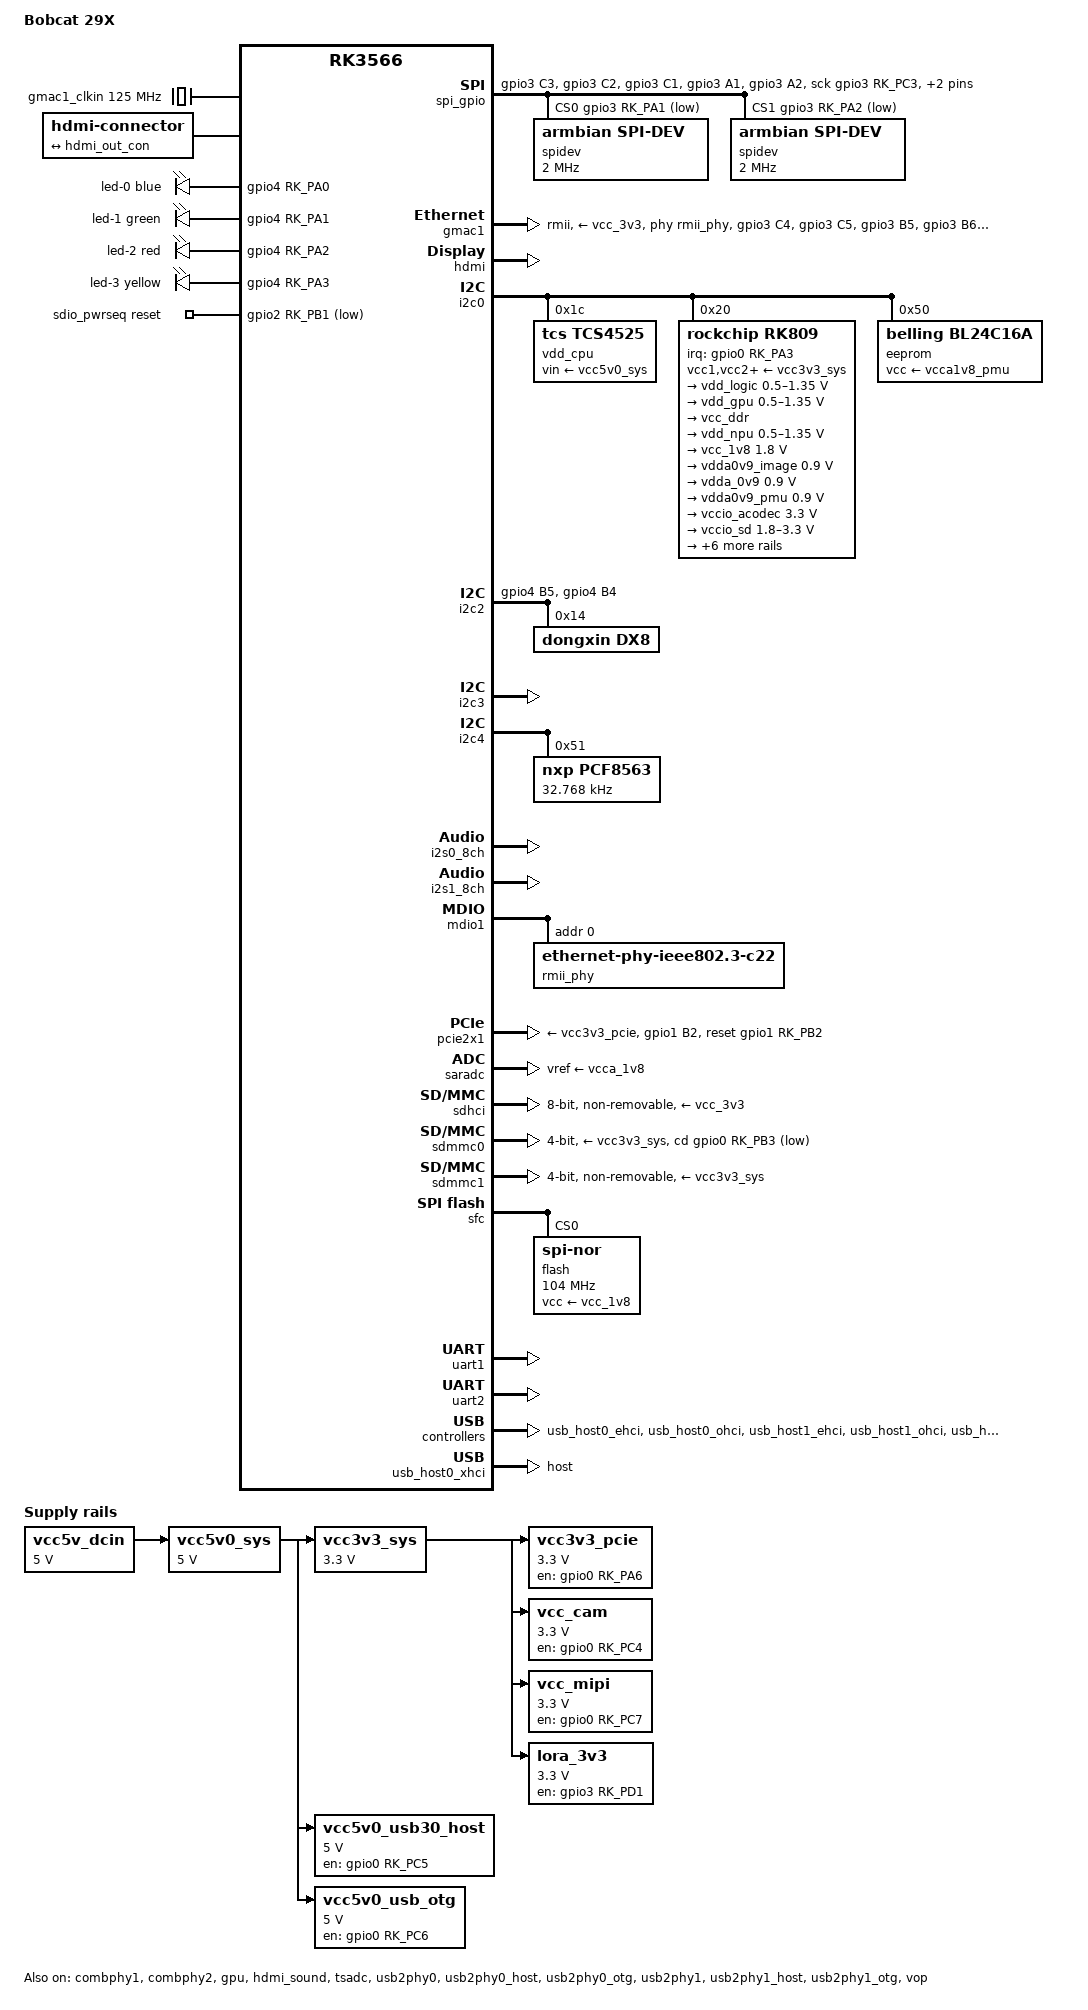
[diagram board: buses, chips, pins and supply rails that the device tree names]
// SPDX-License-Identifier: (GPL-2.0+ OR MIT)

/dts-v1/;
#include <dt-bindings/gpio/gpio.h>
#include <dt-bindings/leds/common.h>
#include <dt-bindings/pinctrl/rockchip.h>
#include <dt-bindings/soc/rockchip,vop2.h>
#include "rk3566.dtsi"

/ {
	model = "Bobcat 29X";
	compatible = "bobcat,bobcat-29x", "rockchip,rk3566";

	aliases {
		ethernet0 = &gmac1;
		mmc0 = &sdhci;
		mmc1 = &sdmmc0;
		mmc2 = &sdmmc1;
	};

	chosen: chosen {
		stdout-path = "serial2:1500000n8";
	};

	gmac1_clkin: external-gmac1-clock {
		compatible = "fixed-clock";
		clock-frequency = <125000000>;
		clock-output-names = "gmac1_clkin";
		#clock-cells = <0>;
	};

	hdmi-con {
		compatible = "hdmi-connector";
		type = "a";

		port {
			hdmi_con_in: endpoint {
				remote-endpoint = <&hdmi_out_con>;
			};
		};
	};

	leds {
		compatible = "gpio-leds";

		led-0 {
			gpios = <&gpio4 RK_PA0 GPIO_ACTIVE_HIGH>;
			function = LED_FUNCTION_STATUS;
			color = <LED_COLOR_ID_BLUE>;
			linux,default-trigger = "heartbeat";
		};

		led-1 {
			gpios = <&gpio4 RK_PA1 GPIO_ACTIVE_HIGH>;
			function = LED_FUNCTION_STATUS;
			color = <LED_COLOR_ID_GREEN>;
		};

		led-2 {
			gpios = <&gpio4 RK_PA2 GPIO_ACTIVE_HIGH>;
			function = LED_FUNCTION_STATUS;
			color = <LED_COLOR_ID_RED>;
		};

		led-3 {
			gpios = <&gpio4 RK_PA3 GPIO_ACTIVE_HIGH>;
			function = LED_FUNCTION_STATUS;
			color = <LED_COLOR_ID_YELLOW>;
		};
	};

	sdio_pwrseq: sdio-pwrseq {
		status = "okay";
		compatible = "mmc-pwrseq-simple";
		clocks = <&rk809 1>;
		clock-names = "ext_clock";
		pinctrl-names = "default";
		pinctrl-0 = <&wifi_enable_h>;
		reset-gpios = <&gpio2 RK_PB1 GPIO_ACTIVE_LOW>;
		post-power-on-delay-ms = <100>;
	};

	vcc5v_dcin: vcc5v-dcin-regulator {
		compatible = "regulator-fixed";
		regulator-name = "vcc5v_dcin";
		regulator-always-on;
		regulator-boot-on;
		regulator-min-microvolt = <5000000>;
		regulator-max-microvolt = <5000000>;
	};

	vcc3v3_pcie: vcc3v3-pcie-regulator {
		compatible = "regulator-fixed";
		enable-active-high;
		gpios = <&gpio0 RK_PA6 GPIO_ACTIVE_HIGH>;
		pinctrl-names = "default";
		pinctrl-0 = <&pcie_pwr_en>;
		regulator-name = "vcc3v3_pcie";
		regulator-min-microvolt = <3300000>;
		regulator-max-microvolt = <3300000>;
		vin-supply = <&vcc3v3_sys>;
	};

	vcc3v3_sys: vcc3v3-sys-regulator {
		compatible = "regulator-fixed";
		regulator-name = "vcc3v3_sys";
		regulator-always-on;
		regulator-boot-on;
		regulator-min-microvolt = <3300000>;
		regulator-max-microvolt = <3300000>;
		vin-supply = <&vcc5v0_sys>;
	};

	vcc5v0_sys: vcc5v0-sys-regulator {
		compatible = "regulator-fixed";
		regulator-name = "vcc5v0_sys";
		regulator-always-on;
		regulator-boot-on;
		regulator-min-microvolt = <5000000>;
		regulator-max-microvolt = <5000000>;
		vin-supply = <&vcc5v_dcin>;
	};

	vcc5v0_usb30_host: vcc5v0-usb30-host-regulator {
		compatible = "regulator-fixed";
		enable-active-high;
		gpio = <&gpio0 RK_PC5 GPIO_ACTIVE_HIGH>;
		pinctrl-names = "default";
		pinctrl-0 = <&vcc5v0_usb30_host_en>;
		regulator-name = "vcc5v0_usb30_host";
		regulator-min-microvolt = <5000000>;
		regulator-max-microvolt = <5000000>;
		vin-supply = <&vcc5v0_sys>;
	};

	vcc5v0_usb_otg: vcc5v0-usb-otg-regulator {
		compatible = "regulator-fixed";
		enable-active-high;
		gpio = <&gpio0 RK_PC6 GPIO_ACTIVE_HIGH>;
		pinctrl-names = "default";
		pinctrl-0 = <&vcc5v0_usb_otg_en>;
		regulator-name = "vcc5v0_usb_otg";
		regulator-min-microvolt = <5000000>;
		regulator-max-microvolt = <5000000>;
		vin-supply = <&vcc5v0_sys>;
	};

	vcc_cam: vcc-cam-regulator {
		compatible = "regulator-fixed";
		enable-active-high;
		gpio = <&gpio0 RK_PC4 GPIO_ACTIVE_HIGH>;
		pinctrl-names = "default";
		pinctrl-0 = <&vcc_cam_en>;
		regulator-name = "vcc_cam";
		regulator-min-microvolt = <3300000>;
		regulator-max-microvolt = <3300000>;
		vin-supply = <&vcc3v3_sys>;

		regulator-state-mem {
			regulator-off-in-suspend;
		};
	};

	vcc_mipi: vcc-mipi-regulator {
		compatible = "regulator-fixed";
		enable-active-high;
		gpio = <&gpio0 RK_PC7 GPIO_ACTIVE_HIGH>;
		pinctrl-names = "default";
		pinctrl-0 = <&vcc_mipi_en>;
		regulator-name = "vcc_mipi";
		regulator-min-microvolt = <3300000>;
		regulator-max-microvolt = <3300000>;
		vin-supply = <&vcc3v3_sys>;

		regulator-state-mem {
			regulator-off-in-suspend;
		};
	};

	lora_3v3: lora-3v3-regulator {
		compatible = "regulator-fixed";
		regulator-name = "lora_3v3";
		enable-active-high;
		regulator-always-on;
		regulator-boot-on;
		gpio = <&gpio3 RK_PD1 GPIO_ACTIVE_HIGH>;
		pinctrl-names = "default";
		pinctrl-0 = <&lora_en>;
		regulator-min-microvolt = <3300000>;
		regulator-max-microvolt = <3300000>;
		vin-supply = <&vcc3v3_sys>;
	};

	spi_gpio: spi-gpio {
		compatible = "spi-gpio";
		#address-cells = <1>;
		#size-cells = <0>;
		pinctrl-names = "default";
		pinctrl-0 = <&gpio_spi>;
		sck-gpios = <&gpio3 RK_PC3 GPIO_ACTIVE_HIGH>;
		miso-gpios = <&gpio3 RK_PC2 GPIO_ACTIVE_HIGH>;
		mosi-gpios = <&gpio3 RK_PC1 GPIO_ACTIVE_HIGH>;
		cs-gpios = <&gpio3 RK_PA1 GPIO_ACTIVE_LOW>,
			   <&gpio3 RK_PA2 GPIO_ACTIVE_LOW>;
		num-chipselects = <2>;
		status = "okay";

		spidev@0 {
			compatible = "armbian,spi-dev";
			reg = <0>;
			spi-max-frequency = <2000000>;
		};

		spidev@1 {
			compatible = "armbian,spi-dev";
			reg = <1>;
			spi-max-frequency = <2000000>;
		};
	};
};

&combphy1 {
	status = "okay";
};

&combphy2 {
	status = "okay";
};

&cpu0 {
	cpu-supply = <&vdd_cpu>;
};

&cpu1 {
	cpu-supply = <&vdd_cpu>;
};

&cpu2 {
	cpu-supply = <&vdd_cpu>;
};

&cpu3 {
	cpu-supply = <&vdd_cpu>;
};

&gmac1 {
	assigned-clocks = <&cru SCLK_GMAC1_RX_TX>, <&cru SCLK_GMAC1>;
	assigned-clock-parents = <&cru SCLK_GMAC1_RMII_SPEED>;
	assigned-clock-rates = <0>, <50000000>;
	clock_in_out = "output";
	phy-handle = <&rmii_phy>;
	phy-mode = "rmii";
	phy-supply = <&vcc_3v3>;
	pinctrl-names = "default";
	pinctrl-0 = <&gmac1m0_miim
		     &gmac1m0_tx_bus2
		     &gmac1m0_rx_bus2
		     &gmac1m0_rx_er
		     &gmac1m0_clkinout>;
	snps,reset-gpio = <&gpio4 RK_PC2 GPIO_ACTIVE_LOW>;
	snps,reset-active-low;
	snps,reset-delays-us = <0 20000 100000>;
	tx_delay = <0x46>;
	rx_delay = <0x29>;
	status = "okay";
};

&gpu {
	mali-supply = <&vdd_gpu>;
	status = "okay";
};

&hdmi {
	avdd-0v9-supply = <&vdda0v9_image>;
	avdd-1v8-supply = <&vcca1v8_image>;
	status = "okay";
};

&hdmi_in {
	hdmi_in_vp0: endpoint {
		remote-endpoint = <&vp0_out_hdmi>;
	};
};

&hdmi_out {
	hdmi_out_con: endpoint {
		remote-endpoint = <&hdmi_con_in>;
	};
};

&hdmi_sound {
	status = "okay";
};

&i2c0 {
	status = "okay";

	vdd_cpu: regulator@1c {
		compatible = "tcs,tcs4525";
		reg = <0x1c>;
		fcs,suspend-voltage-selector = <1>;
		regulator-name = "vdd_cpu";
		regulator-always-on;
		regulator-boot-on;
		regulator-min-microvolt = <800000>;
		regulator-max-microvolt = <1150000>;
		regulator-ramp-delay = <2300>;
		vin-supply = <&vcc5v0_sys>;

		regulator-state-mem {
			regulator-off-in-suspend;
		};
	};

	rk809: pmic@20 {
		compatible = "rockchip,rk809";
		reg = <0x20>;
		interrupt-parent = <&gpio0>;
		interrupts = <RK_PA3 IRQ_TYPE_LEVEL_LOW>;
		#clock-cells = <1>;
		clock-output-names = "rk808-clkout1", "rk808-clkout2";
		pinctrl-names = "default";
		pinctrl-0 = <&pmic_int_l>, <&i2s1m0_mclk>;
		rockchip,system-power-controller;
		wakeup-source;
		vcc1-supply = <&vcc3v3_sys>;
		vcc2-supply = <&vcc3v3_sys>;
		vcc3-supply = <&vcc3v3_sys>;
		vcc4-supply = <&vcc3v3_sys>;
		vcc5-supply = <&vcc3v3_sys>;
		vcc6-supply = <&vcc3v3_sys>;
		vcc7-supply = <&vcc3v3_sys>;
		vcc8-supply = <&vcc3v3_sys>;
		vcc9-supply = <&vcc3v3_sys>;

		regulators {
			vdd_logic: DCDC_REG1 {
				regulator-name = "vdd_logic";
				regulator-always-on;
				regulator-boot-on;
				regulator-initial-mode = <0x2>;
				regulator-min-microvolt = <500000>;
				regulator-max-microvolt = <1350000>;
				regulator-ramp-delay = <6001>;

				regulator-state-mem {
					regulator-off-in-suspend;
					regulator-suspend-microvolt = <900000>;
				};
			};

			vdd_gpu: DCDC_REG2 {
				regulator-name = "vdd_gpu";
				regulator-always-on;
				regulator-boot-on;
				regulator-initial-mode = <0x2>;
				regulator-min-microvolt = <500000>;
				regulator-max-microvolt = <1350000>;
				regulator-ramp-delay = <6001>;

				regulator-state-mem {
					regulator-off-in-suspend;
					regulator-suspend-microvolt = <900000>;
				};
			};

			vcc_ddr: DCDC_REG3 {
				regulator-name = "vcc_ddr";
				regulator-always-on;
				regulator-boot-on;
				regulator-initial-mode = <0x2>;

				regulator-state-mem {
					regulator-on-in-suspend;
				};
			};

			vdd_npu: DCDC_REG4 {
				regulator-name = "vdd_npu";
				regulator-initial-mode = <0x2>;
				regulator-min-microvolt = <500000>;
				regulator-max-microvolt = <1350000>;
				regulator-ramp-delay = <6001>;

				regulator-state-mem {
					regulator-off-in-suspend;
				};
			};

			vcc_1v8: DCDC_REG5 {
				regulator-name = "vcc_1v8";
				regulator-always-on;
				regulator-boot-on;
				regulator-min-microvolt = <1800000>;
				regulator-max-microvolt = <1800000>;

				regulator-state-mem {
					regulator-off-in-suspend;
				};
			};

			vdda0v9_image: LDO_REG1 {
				regulator-name = "vdda0v9_image";
				regulator-min-microvolt = <900000>;
				regulator-max-microvolt = <900000>;

				regulator-state-mem {
					regulator-off-in-suspend;
				};
			};

			vdda_0v9: LDO_REG2 {
				regulator-name = "vdda_0v9";
				regulator-always-on;
				regulator-boot-on;
				regulator-min-microvolt = <900000>;
				regulator-max-microvolt = <900000>;

				regulator-state-mem {
					regulator-off-in-suspend;
				};
			};

			vdda0v9_pmu: LDO_REG3 {
				regulator-name = "vdda0v9_pmu";
				regulator-always-on;
				regulator-boot-on;
				regulator-min-microvolt = <900000>;
				regulator-max-microvolt = <900000>;

				regulator-state-mem {
					regulator-on-in-suspend;
					regulator-suspend-microvolt = <900000>;
				};
			};

			vccio_acodec: LDO_REG4 {
				regulator-name = "vccio_acodec";
				regulator-always-on;
				regulator-boot-on;
				regulator-min-microvolt = <3300000>;
				regulator-max-microvolt = <3300000>;

				regulator-state-mem {
					regulator-off-in-suspend;
				};
			};

			vccio_sd: LDO_REG5 {
				regulator-name = "vccio_sd";
				regulator-min-microvolt = <1800000>;
				regulator-max-microvolt = <3300000>;

				regulator-state-mem {
					regulator-off-in-suspend;
				};
			};

			vcc3v3_pmu: LDO_REG6 {
				regulator-name = "vcc3v3_pmu";
				regulator-always-on;
				regulator-boot-on;
				regulator-min-microvolt = <3300000>;
				regulator-max-microvolt = <3300000>;

				regulator-state-mem {
					regulator-on-in-suspend;
					regulator-suspend-microvolt = <3300000>;
				};
			};

			vcca_1v8: LDO_REG7 {
				regulator-name = "vcca_1v8";
				regulator-always-on;
				regulator-boot-on;
				regulator-min-microvolt = <1800000>;
				regulator-max-microvolt = <1800000>;

				regulator-state-mem {
					regulator-off-in-suspend;
				};
			};

			vcca1v8_pmu: LDO_REG8 {
				regulator-name = "vcca1v8_pmu";
				regulator-always-on;
				regulator-boot-on;
				regulator-min-microvolt = <1800000>;
				regulator-max-microvolt = <1800000>;

				regulator-state-mem {
					regulator-on-in-suspend;
					regulator-suspend-microvolt = <1800000>;
				};
			};

			vcca1v8_image: LDO_REG9 {
				regulator-name = "vcca1v8_image";
				regulator-min-microvolt = <1800000>;
				regulator-max-microvolt = <1800000>;

				regulator-state-mem {
					regulator-off-in-suspend;
				};
			};

			vcc_3v3: SWITCH_REG1 {
				regulator-name = "vcc_3v3";
				regulator-always-on;
				regulator-boot-on;

				regulator-state-mem {
					regulator-off-in-suspend;
				};
			};

			vcc3v3_sd: SWITCH_REG2 {
				regulator-name = "vcc3v3_sd";

				regulator-state-mem {
					regulator-off-in-suspend;
				};
			};
		};
	};

	eeprom: eeprom@50 {
		compatible = "belling,bl24c16a", "atmel,24c16";
		reg = <0x50>;
		pagesize = <16>;
		vcc-supply = <&vcca1v8_pmu>;
	};
};

&i2c2 {
	pinctrl-0 = <&i2c2m1_xfer>;
	status = "okay";

	dx8: crypto@14 {
		compatible = "dongxin,dx8";
		reg = <0x14>;
	};
};

&i2c3 {
	status = "okay";
};

&i2c4 {
	status = "okay";

	pcf8563: rtc@51 {
		compatible = "nxp,pcf8563";
		reg = <0x51>;
		#clock-cells = <0>;
		clock-frequency = <32768>;
		clock-output-names = "xin32k-rtc";
	};
};

&i2s0_8ch {
	status = "okay";
};

&i2s1_8ch {
	pinctrl-names = "default";
	pinctrl-0 = <&i2s1m0_sclktx &i2s1m0_lrcktx &i2s1m0_sdi0 &i2s1m0_sdo0>;
	rockchip,trcm-sync-tx-only;
	status = "okay";
};

&mdio1 {
	rmii_phy: ethernet-phy@0 {
		compatible = "ethernet-phy-ieee802.3-c22";
		reg = <0x0>;
	};
};

&pcie2x1 {
	pinctrl-names = "default";
	pinctrl-0 = <&pcie_reset_h>;
	reset-gpios = <&gpio1 RK_PB2 GPIO_ACTIVE_HIGH>;
	vpcie3v3-supply = <&vcc3v3_pcie>;
	status = "okay";
};

&pinctrl {
	i2c2 {
		i2c2m1_xfer: i2c2m1-xfer {
			rockchip,pins =
				/* i2c2_sdam1 */
				<4 RK_PB5 1 &pcfg_pull_up_smt>,
				/* i2c2_sclm1 */
				<4 RK_PB4 1 &pcfg_pull_up_smt>;
		};
	};

	i2c3 {
		i2c3m0_xfer: i2c3m0-xfer {
			rockchip,pins =
				/* i2c3_sdam0 */
				<1 RK_PA1 1 &pcfg_pull_up_smt>,
				/* i2c3_sclm0 */
				<1 RK_PA0 1 &pcfg_pull_up_smt>;
		};
	};

	i2c4 {
		i2c4m0_xfer: i2c4m0-xfer {
			rockchip,pins =
				/* i2c4_sdam0 */
				<4 RK_PB3 1 &pcfg_pull_up_smt>,
				/* i2c4_sclm0 */
				<4 RK_PB2 1 &pcfg_pull_up_smt>;
		};
	};

	cam {
		vcc_cam_en: vcc_cam_en {
			rockchip,pins = <0 RK_PC4 RK_FUNC_GPIO &pcfg_pull_none>;
		};
	};

	display {
		vcc_mipi_en: vcc_mipi_en {
			rockchip,pins = <0 RK_PC7 RK_FUNC_GPIO &pcfg_pull_none>;
		};
	};

	spi-gpio {
		gpio_spi: gpio-spi {
			rockchip,pins =
				<3 RK_PC3 RK_FUNC_GPIO &pcfg_pull_none>,  /* SCK */
				<3 RK_PC2 RK_FUNC_GPIO &pcfg_pull_none>,  /* MISO */
				<3 RK_PC1 RK_FUNC_GPIO &pcfg_pull_none>,  /* MOSI */
				<3 RK_PA1 RK_FUNC_GPIO &pcfg_pull_none>,  /* CS0 */
				<3 RK_PA2 RK_FUNC_GPIO &pcfg_pull_none>;  /* CS1 */
		};
	};

	gmac1 {
		gmac1m0_miim: gmac1m0-miim {
			rockchip,pins =
				/* gmac1_mdcm0 */
				<3 RK_PC4 3 &pcfg_pull_none>,
				/* gmac1_mdiom0 */
				<3 RK_PC5 3 &pcfg_pull_none>;
		};
		gmac1m0_clkinout: gmac1m0-clkinout {
			rockchip,pins =
				/* gmac1_mclkinoutm0 */
				<3 RK_PC0 3 &pcfg_pull_none>;
		};
		gmac1m0_rx_er: gmac1m0-rx-er {
			rockchip,pins =
				/* gmac1_rxerm0 */
				<3 RK_PB4 3 &pcfg_pull_none>;
		};
		gmac1m0_rx_bus2: gmac1m0-rx-bus2 {
			rockchip,pins =
				/* gmac1_rxd0m0 */
				<3 RK_PB1 3 &pcfg_pull_none>,
				/* gmac1_rxd1m0 */
				<3 RK_PB2 3 &pcfg_pull_none>,
				/* gmac1_rxdvcrsm0 */
				<3 RK_PB3 3 &pcfg_pull_none>;
		};
		gmac1m0_tx_bus2: gmac1m0-tx-bus2 {
			rockchip,pins =
				/* gmac1_txd0m0 */
				<3 RK_PB5 3 &pcfg_pull_none>,
				/* gmac1_txd1m0 */
				<3 RK_PB6 3 &pcfg_pull_none>,
				/* gmac1_txenm0 */
				<3 RK_PB7 3 &pcfg_pull_none>;
		};

		gmac1_phy_rst: gmac1-phy-rst {
			rockchip,pins = <4 RK_PC2 RK_FUNC_GPIO &pcfg_pull_none>;
		};
	};

	leds {
		led_pins: led-pins {
			rockchip,pins =
				<4 RK_PA0 RK_FUNC_GPIO &pcfg_pull_none>,
				<4 RK_PA1 RK_FUNC_GPIO &pcfg_pull_none>,
				<4 RK_PA2 RK_FUNC_GPIO &pcfg_pull_none>,
				<4 RK_PA3 RK_FUNC_GPIO &pcfg_pull_none>;
		};
	};

	lora {
		lora_en: lora-en {
			rockchip,pins = <3 RK_PD1 RK_FUNC_GPIO &pcfg_pull_none>;
		};

		lora_rst: lora-rst {
			rockchip,pins = <4 RK_PC5 RK_FUNC_GPIO &pcfg_pull_none>;
		};
	};

	pcie {
		pcie_pwr_en: pcie-pwr-en {
			rockchip,pins = <0 RK_PA6 RK_FUNC_GPIO &pcfg_pull_none>;
		};
		pcie_reset_h: pcie-reset-h {
			rockchip,pins = <1 RK_PB2 RK_FUNC_GPIO &pcfg_pull_none>;
		};
	};

	pmic {
		pmic_int_l: pmic-int-l {
			rockchip,pins = <0 RK_PA3 RK_FUNC_GPIO &pcfg_pull_up>;
		};
	};

	usb {
		vcc5v0_usb30_host_en: vcc5v0-usb30-host-en {
			rockchip,pins = <0 RK_PC5 RK_FUNC_GPIO &pcfg_pull_none>;
		};
		vcc5v0_usb_otg_en: vcc5v0-usb-otg-en {
			rockchip,pins = <0 RK_PC6 RK_FUNC_GPIO &pcfg_pull_none>;
		};
	};

	sdio-pwrseq {
		wifi_enable_h: wifi-enable-h {
			rockchip,pins = <2 RK_PB1 RK_FUNC_GPIO &pcfg_pull_none>;
		};
	};
};

&pmu_io_domains {
	pmuio1-supply = <&vcc3v3_pmu>;
	pmuio2-supply = <&vcca1v8_pmu>;
	vccio1-supply = <&vccio_acodec>;
	vccio2-supply = <&vcc_1v8>;
	vccio3-supply = <&vccio_sd>;
	vccio4-supply = <&vcca1v8_pmu>;
	vccio5-supply = <&vcc_3v3>;
	vccio6-supply = <&vcc_3v3>;
	vccio7-supply = <&vcc_3v3>;
	status = "okay";
};

&saradc {
	vref-supply = <&vcca_1v8>;
	status = "okay";
};

&sdhci {
	bus-width = <8>;
	max-frequency = <200000000>;
	mmc-hs200-1_8v;
	non-removable;
	pinctrl-names = "default";
	pinctrl-0 = <&emmc_bus8 &emmc_clk &emmc_cmd &emmc_datastrobe>;
	vmmc-supply = <&vcc_3v3>;
	vqmmc-supply = <&vcc_1v8>;
	status = "okay";
};

&sdmmc0 {
	bus-width = <4>;
	cap-sd-highspeed;
	cd-gpios = <&gpio0 RK_PB3 GPIO_ACTIVE_LOW>;
	disable-wp;
	pinctrl-names = "default";
	pinctrl-0 = <&sdmmc0_bus4 &sdmmc0_clk &sdmmc0_cmd &sdmmc0_det>;
	sd-uhs-sdr50;
	vmmc-supply = <&vcc3v3_sys>;
	vqmmc-supply = <&vccio_sd>;
	status = "okay";
};

&sdmmc1 {
	bus-width = <4>;
	cap-sd-highspeed;
	cap-sdio-irq;
	disable-wp;
	keep-power-in-suspend;
	mmc-pwrseq = <&sdio_pwrseq>;
	non-removable;
	pinctrl-names = "default";
	pinctrl-0 = <&sdmmc1_bus4 &sdmmc1_clk &sdmmc1_cmd>;
	sd-uhs-sdr104;
	supports-sdio;
	vmmc-supply = <&vcc3v3_sys>;
	vqmmc-supply = <&vcc_1v8>;
	status = "okay";
};

&sfc {
	#address-cells = <1>;
	#size-cells = <0>;
	status = "okay";

	flash@0 {
		compatible = "jedec,spi-nor";
		reg = <0x0>;
		spi-max-frequency = <104000000>;
		spi-rx-bus-width = <4>;
		spi-tx-bus-width = <1>;
		vcc-supply = <&vcc_1v8>;
	};
};

&tsadc {
	rockchip,hw-tshut-mode = <1>;
	rockchip,hw-tshut-polarity = <0>;
	status = "okay";
};

&uart1 {
	pinctrl-names = "default";
	pinctrl-0 = <&uart1m0_xfer &uart1m0_ctsn &uart1m0_rtsn>;
	uart-has-rtscts;
	status = "okay";
};

&uart2 {
	status = "okay";
};

&usb_host0_ehci {
	status = "okay";
};

&usb_host0_ohci {
	status = "okay";
};

&usb_host0_xhci {
	dr_mode = "host";
	status = "okay";
};

&usb_host1_ehci {
	status = "okay";
};

&usb_host1_ohci {
	status = "okay";
};

&usb_host1_xhci {
	status = "okay";
};

&usb2phy0 {
	status = "okay";
};

&usb2phy0_host {
	phy-supply = <&vcc5v0_usb30_host>;
	status = "okay";
};

&usb2phy0_otg {
	phy-supply = <&vcc5v0_usb_otg>;
	status = "okay";
};

&usb2phy1 {
	status = "okay";
};

&usb2phy1_host {
	phy-supply = <&vcc5v0_usb30_host>;
	status = "okay";
};

&usb2phy1_otg {
	phy-supply = <&vcc5v0_usb30_host>;
	status = "okay";
};

&vop {
	assigned-clocks = <&cru DCLK_VOP0>, <&cru DCLK_VOP1>;
	assigned-clock-parents = <&pmucru PLL_HPLL>, <&cru PLL_VPLL>;
	status = "okay";
};

&vop_mmu {
	status = "okay";
};

&vp0 {
	vp0_out_hdmi: endpoint@ROCKCHIP_VOP2_EP_HDMI0 {
		reg = <ROCKCHIP_VOP2_EP_HDMI0>;
		remote-endpoint = <&hdmi_in_vp0>;
	};
};
